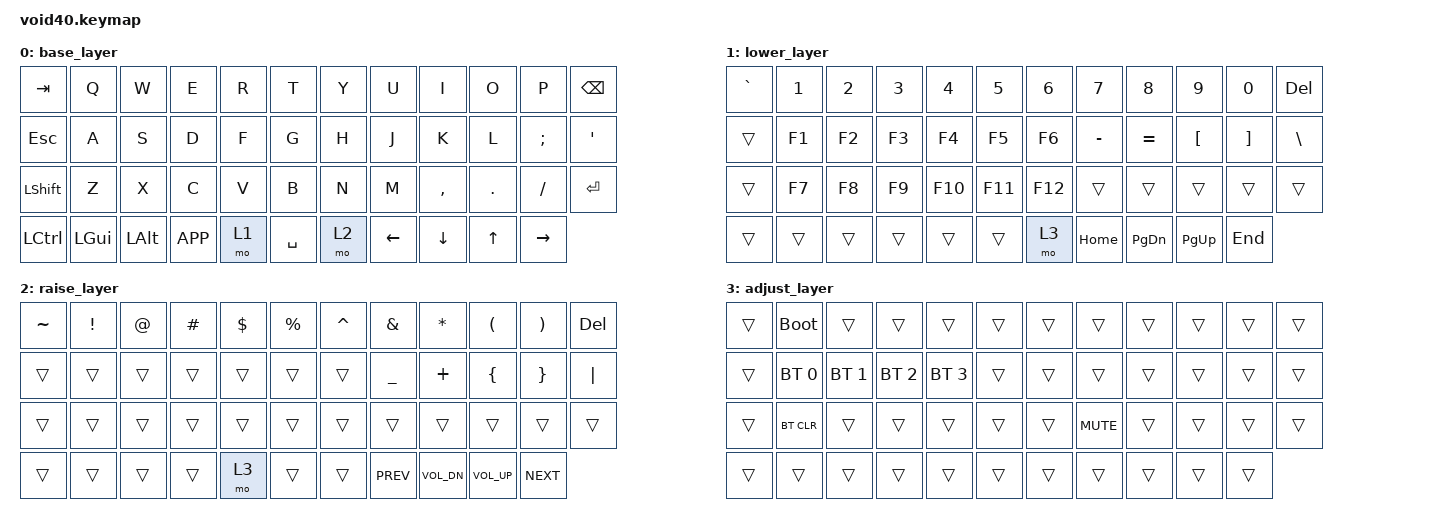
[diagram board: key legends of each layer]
#include <behaviors.dtsi>
#include <dt-bindings/zmk/keys.h>
#include <dt-bindings/zmk/bt.h>

/ {
    keymap {
        compatible = "zmk,keymap";

        base_layer {
            bindings = <
                &kp TAB    &kp Q    &kp W    &kp E    &kp R    &kp T    &kp Y    &kp U    &kp I     &kp O    &kp P     &kp BSPC
                &kp ESC    &kp A    &kp S    &kp D    &kp F    &kp G    &kp H    &kp J    &kp K     &kp L    &kp SEMI  &kp SQT
                &kp LSHFT  &kp Z    &kp X    &kp C    &kp V    &kp B    &kp N    &kp M    &kp COMMA &kp DOT  &kp FSLH  &kp RET
                &kp LCTRL  &kp LGUI &kp LALT &kp K_APP &mo 1   &kp SPC  &mo 2   &kp LEFT &kp DOWN  &kp UP   &kp RIGHT
            >;
        };

        lower_layer {
            bindings = <
                &kp GRAVE  &kp N1   &kp N2   &kp N3   &kp N4   &kp N5   &kp N6   &kp N7   &kp N8    &kp N9   &kp N0    &kp DEL
                &trans     &kp F1   &kp F2   &kp F3   &kp F4   &kp F5   &kp F6   &kp MINUS &kp EQUAL &kp LBKT &kp RBKT &kp BSLH
                &trans     &kp F7   &kp F8   &kp F9   &kp F10  &kp F11  &kp F12  &trans   &trans    &trans   &trans    &trans
                &trans     &trans   &trans   &trans   &trans   &trans   &mo 3    &kp HOME &kp PG_DN &kp PG_UP &kp END
            >;
        };

        raise_layer {
            bindings = <
                &kp TILDE  &kp EXCL &kp AT   &kp HASH &kp DLLR &kp PRCNT &kp CARET &kp AMPS &kp ASTRK &kp LPAR &kp RPAR &kp DEL
                &trans     &trans   &trans   &trans   &trans   &trans   &trans    &kp UNDER &kp PLUS &kp LBRC &kp RBRC  &kp PIPE
                &trans     &trans   &trans   &trans   &trans   &trans   &trans    &trans   &trans    &trans   &trans    &trans
                &trans     &trans   &trans   &trans   &mo 3    &trans   &trans    &kp C_PREV &kp C_VOL_DN &kp C_VOL_UP &kp C_NEXT
            >;
        };

        adjust_layer {
            bindings = <
                &trans  &bootloader &trans       &trans       &trans       &trans  &trans  &trans      &trans  &trans  &trans  &trans
                &trans  &bt BT_SEL 0 &bt BT_SEL 1 &bt BT_SEL 2 &bt BT_SEL 3 &trans &trans &trans    &trans  &trans  &trans  &trans
                &trans  &bt BT_CLR  &trans       &trans       &trans       &trans  &trans  &kp C_MUTE &trans  &trans  &trans  &trans
                &trans  &trans      &trans       &trans       &trans       &trans  &trans  &trans      &trans  &trans  &trans
            >;
        };
    };
};
